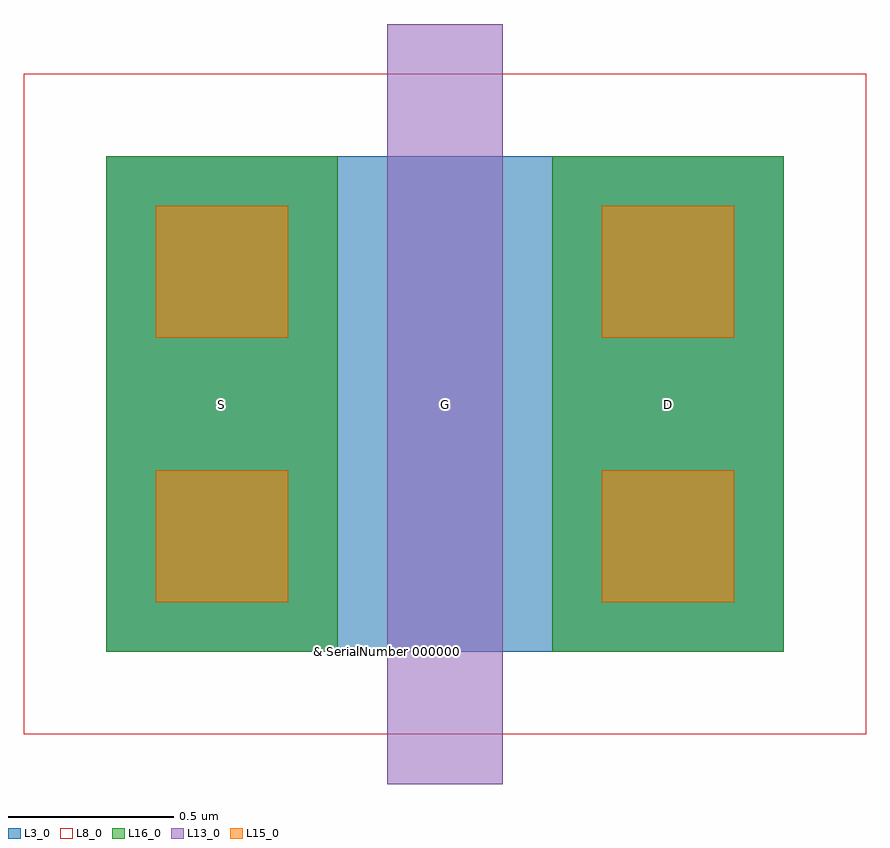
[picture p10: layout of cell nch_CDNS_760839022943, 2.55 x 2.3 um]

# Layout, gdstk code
import gdstk
lib = gdstk.Library(unit=1e-6, precision=1e-09)
def R(c, l, rs):  # rectangles x0, y0, x1, y1
    for r in rs: c.add(gdstk.rectangle(r[:2], r[2:], *l))
L3_0 = (3, 0)
L8_0 = (8, 0)
L13_0 = (13, 0)
L15_0 = (15, 0)
L16_0 = (16, 0)

nch_cdns_760839022943 = lib.new_cell('nch_CDNS_760839022943')
R(nch_cdns_760839022943, L3_0, [(-0.85,0,-0.15,1.5), (-0.85,0,-0.15,1.5), (-0.15,0,0.5,1.5), (0.5,0,1.2,1.5), (0.5,0,1.2,1.5)])
R(nch_cdns_760839022943, L8_0, [(-1.1,-0.25,1.45,1.75)])
R(nch_cdns_760839022943, L13_0, [(0,-0.4,0.35,1.9)])
R(nch_cdns_760839022943, L15_0, [(-0.7,0.15,-0.3,0.55), (0.65,0.15,1.05,0.55), (-0.7,0.95,-0.3,1.35), (0.65,0.95,1.05,1.35)])
R(nch_cdns_760839022943, L16_0, [(-0.85,0,-0.15,1.5), (0.5,0,1.2,1.5)])
nch_cdns_760839022943.add(gdstk.Label('D', (0.85,0.75), layer=59, texttype=0))
nch_cdns_760839022943.add(gdstk.Label('S', (-0.5,0.75), layer=59, texttype=0))
nch_cdns_760839022943.add(gdstk.Label('G', (0.175,0.75), layer=59, texttype=0))
nch_cdns_760839022943.add(gdstk.Label('& SerialNumber 000000', (0,0), layer=16, texttype=0))
nch_cdns_760839022943.add(gdstk.Label('& Distributor VIS', (0,0), layer=16, texttype=0))
nch_cdns_760839022943.add(gdstk.Label('& Metric 1', (0,0), layer=16, texttype=0))
nch_cdns_760839022943.add(gdstk.Label('& Version    \t  1.7A', (0,0), layer=16, texttype=0))
nch_cdns_760839022943.add(gdstk.Label('& PDKName     vis35cv', (0,0), layer=16, texttype=0))
nch_cdns_760839022943.add(gdstk.Label('& Vendor VIS Corp.', (0,0), layer=16, texttype=0))
nch_cdns_760839022943.add(gdstk.Label('& SerialNumber 000000', (0,0), layer=63, texttype=63))
nch_cdns_760839022943.add(gdstk.Label('& Distributor VIS', (0,0), layer=63, texttype=63))
nch_cdns_760839022943.add(gdstk.Label('& Metric 1', (0,0), layer=63, texttype=63))
nch_cdns_760839022943.add(gdstk.Label('& Version    \t  1.7A', (0,0), layer=63, texttype=63))
nch_cdns_760839022943.add(gdstk.Label('& PDKName     vis35cv', (0,0), layer=63, texttype=63))
nch_cdns_760839022943.add(gdstk.Label('& Vendor VIS Corp.', (0,0), layer=63, texttype=63))

lib.write_gds('nch_CDNS_760839022943.gds')
